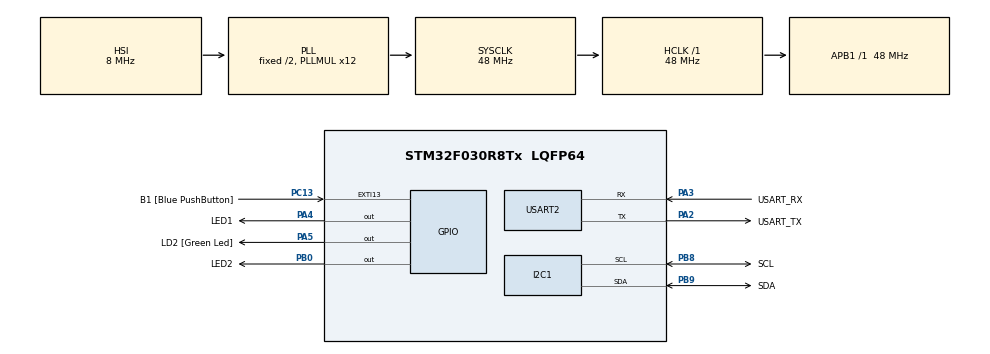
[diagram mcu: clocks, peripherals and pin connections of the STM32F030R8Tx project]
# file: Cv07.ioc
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FREERTOS.Queues01=xVisualQueue,16,uint16_t,0,Dynamic,NULL,NULL
FREERTOS.Tasks01=defaultTask,0,128,StartDefaultTask,Default,NULL,Dynamic,NULL,NULL;VisualTask,0,128,StartVisualTask,Default,NULL,Dynamic,NULL,NULL;AcceleroTask,0,128,StartAcceleroTask,Default,NULL,Dynamic,NULL,NULL
FREERTOS.configUSE_NEWLIB_REENTRANT=1
I2C1.Timing=0x00201D2B
Mcu.Family=STM32F0
Mcu.Name=STM32F030R8Tx
Mcu.Package=LQFP64
NVIC.TIM14_IRQn=true\:3\:0\:false\:false\:true\:false\:false\:true\:true
NVIC.TimeBase=TIM14_IRQn
NVIC.TimeBaseIP=TIM14
PA13.GPIO_Label=TMS
PA13.Mode=Serial_Wire
PA13.Signal=SYS_SWDIO
PA14.GPIO_Label=TCK
PA14.Mode=Serial_Wire
PA14.Signal=SYS_SWCLK
PA2.GPIO_Label=USART_TX
PA2.GPIO_Mode=GPIO_MODE_AF_PP
PA2.GPIO_PuPd=GPIO_NOPULL
PA2.GPIO_Speed=GPIO_SPEED_FREQ_LOW
PA2.Mode=Asynchronous
PA2.Signal=USART2_TX
PA3.GPIO_Label=USART_RX
PA3.GPIO_Mode=GPIO_MODE_AF_PP
PA3.GPIO_PuPd=GPIO_NOPULL
PA3.GPIO_Speed=GPIO_SPEED_FREQ_LOW
PA3.Mode=Asynchronous
PA3.Signal=USART2_RX
PA4.GPIO_Label=LED1
PA4.GPIO_PuPd=GPIO_NOPULL
PA4.Signal=GPIO_Output
PA5.GPIO_Label=LD2 [Green Led]
PA5.GPIO_Mode=GPIO_MODE_OUTPUT_PP
PA5.GPIO_PuPd=GPIO_NOPULL
PA5.GPIO_Speed=GPIO_SPEED_FREQ_LOW
PA5.Signal=GPIO_Output
PB0.GPIO_Label=LED2
PB0.Signal=GPIO_Output
PB8.GPIO_Label=SCL
PB8.Mode=I2C
PB8.Signal=I2C1_SCL
PB9.GPIO_Label=SDA
PB9.Mode=I2C
PB9.Signal=I2C1_SDA
PC13.GPIO_Label=B1 [Blue PushButton]
PC13.GPIO_ModeDefaultEXTI=GPIO_MODE_IT_FALLING
PC13.Signal=GPXTI13
PC14-OSC32_IN.Mode=LSE-External-Oscillator
PC14-OSC32_IN.Signal=RCC_OSC32_IN
PC15-OSC32_OUT.Mode=LSE-External-Oscillator
PC15-OSC32_OUT.Signal=RCC_OSC32_OUT
PF0-OSC_IN.Mode=HSE-External-Clock-Source
PF0-OSC_IN.Signal=RCC_OSC_IN
PF1-OSC_OUT.Signal=RCC_OSC_OUT
ProjectManager.HeapSize=0x200
ProjectManager.StackSize=0x400
ProjectManager.TargetToolchain=STM32CubeIDE
RCC.AHBFreq_Value=48000000
RCC.APB1Freq_Value=48000000
RCC.APB1TimFreq_Value=48000000
RCC.HCLKFreq_Value=48000000
RCC.PLLMUL=RCC_PLL_MUL12
RCC.SYSCLKFreq_VALUE=48000000
RCC.SYSCLKSource=RCC_SYSCLKSOURCE_PLLCLK
USART2.VirtualMode-Asynchronous=VM_ASYNC
VP_FREERTOS_VS_CMSIS_V1.Mode=CMSIS_V1
VP_SYS_VS_tim14.Mode=TIM14
board=NUCLEO-F030R8

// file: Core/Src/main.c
/* USER CODE BEGIN Header */
/**
  ******************************************************************************
  * @file           : main.c
  * @brief          : Main program body
  ******************************************************************************
  * @attention
  *
  * Copyright (c) 2025 STMicroelectronics.
  * All rights reserved.
  *
  * This software is licensed under terms that can be found in the LICENSE file
  * in the root directory of this software component.
  * If no LICENSE file comes with this software, it is provided AS-IS.
  *
  ******************************************************************************
  */
/* USER CODE END Header */
#include "main.h"
#include "cmsis_os.h"

/* USER CODE BEGIN Includes */
#include "lis2dw12_reg.h"
#include <stdio.h>

/* USER CODE END Includes */

I2C_HandleTypeDef hi2c1;

UART_HandleTypeDef huart2;

osThreadId defaultTaskHandle;
osThreadId VisualTaskHandle;
osThreadId AcceleroTaskHandle;
osMessageQId xVisualQueueHandle;

void SystemClock_Config(void);
static void MX_GPIO_Init(void);
static void MX_USART2_UART_Init(void);
static void MX_I2C1_Init(void);
void StartDefaultTask(void const * argument);
void StartVisualTask(void const * argument);
void StartAcceleroTask(void const * argument);

int _write(int file, char const *buf, int n);

/* USER CODE BEGIN PFP */

static int32_t platform_write(void *handle, uint8_t reg, const uint8_t *bufp, uint16_t len)
{
	(HAL_I2C_Mem_Write(handle, LIS2DW12_I2C_ADD_H, reg, I2C_MEMADD_SIZE_8BIT, bufp, len, 1000));
    return 0;
}

static int32_t platform_read(void *handle, uint8_t reg, uint8_t *bufp, uint16_t len)
{
	(HAL_I2C_Mem_Read(handle, LIS2DW12_I2C_ADD_H, reg, I2C_MEMADD_SIZE_8BIT, bufp, len, 1000));
    return 0;
}

static stmdev_ctx_t lis2dw12 = {
    .write_reg = platform_write,
    .read_reg  = platform_read,
    .handle    = &hi2c1,
};

int _write(int file, char const *buf, int n)
{
  (void)file;
  HAL_UART_Transmit(&huart2, (uint8_t*)buf, (uint16_t)n, HAL_MAX_DELAY);
  return n;
}

static void LIS2DW12_Init(void)
{
	uint8_t whoamI = 0;

	lis2dw12_device_id_get(&lis2dw12, &whoamI);
	printf("LIS2DW12_ID %s\r\n", (whoamI == LIS2DW12_ID) ? "OK" : "FAIL");

	lis2dw12_full_scale_set(&lis2dw12, LIS2DW12_2g);
	lis2dw12_power_mode_set(&lis2dw12, LIS2DW12_CONT_LOW_PWR_LOW_NOISE_2);
	lis2dw12_block_data_update_set(&lis2dw12, PROPERTY_ENABLE);
	lis2dw12_fifo_mode_set(&lis2dw12, LIS2DW12_STREAM_MODE);
	lis2dw12_data_rate_set(&lis2dw12, LIS2DW12_XL_ODR_25Hz);
}

/* USER CODE END PFP */

int main(void)
{

  /* MCU Configuration--------------------------------------------------------*/

  /* Reset of all peripherals, Initializes the Flash interface and the Systick. */
  HAL_Init();

  /* Configure the system clock */
  SystemClock_Config();

  /* Initialize all configured peripherals */
  MX_GPIO_Init();
  MX_USART2_UART_Init();
  MX_I2C1_Init();

  /* Create the queue(s) */
  /* definition and creation of xVisualQueue */
  osMessageQDef(xVisualQueue, 16, uint16_t);
  xVisualQueueHandle = osMessageCreate(osMessageQ(xVisualQueue), NULL);

  /* Create the thread(s) */
  /* definition and creation of defaultTask */
  osThreadDef(defaultTask, StartDefaultTask, osPriorityNormal, 0, 128);
  defaultTaskHandle = osThreadCreate(osThread(defaultTask), NULL);

  /* definition and creation of VisualTask */
  osThreadDef(VisualTask, StartVisualTask, osPriorityNormal, 0, 128);
  VisualTaskHandle = osThreadCreate(osThread(VisualTask), NULL);

  /* definition and creation of AcceleroTask */
  osThreadDef(AcceleroTask, StartAcceleroTask, osPriorityNormal, 0, 128);
  AcceleroTaskHandle = osThreadCreate(osThread(AcceleroTask), NULL);

  /* Start scheduler */
  osKernelStart();

  /* We should never get here as control is now taken by the scheduler */

  /* Infinite loop */
  while (1)
  {

  }
}

void SystemClock_Config(void)
{
  RCC_OscInitTypeDef RCC_OscInitStruct = {0};
  RCC_ClkInitTypeDef RCC_ClkInitStruct = {0};
  RCC_PeriphCLKInitTypeDef PeriphClkInit = {0};

  /** Initializes the RCC Oscillators according to the specified parameters
  * in the RCC_OscInitTypeDef structure.
  */
  RCC_OscInitStruct.OscillatorType = RCC_OSCILLATORTYPE_HSI;
  RCC_OscInitStruct.HSIState = RCC_HSI_ON;
  RCC_OscInitStruct.HSICalibrationValue = RCC_HSICALIBRATION_DEFAULT;
  RCC_OscInitStruct.PLL.PLLState = RCC_PLL_ON;
  RCC_OscInitStruct.PLL.PLLSource = RCC_PLLSOURCE_HSI;
  RCC_OscInitStruct.PLL.PLLMUL = RCC_PLL_MUL12;
  RCC_OscInitStruct.PLL.PREDIV = RCC_PREDIV_DIV1;
  if (HAL_RCC_OscConfig(&RCC_OscInitStruct) != HAL_OK)
  {
    Error_Handler();
  }

  /** Initializes the CPU, AHB and APB buses clocks
  */
  RCC_ClkInitStruct.ClockType = RCC_CLOCKTYPE_HCLK|RCC_CLOCKTYPE_SYSCLK
                              |RCC_CLOCKTYPE_PCLK1;
  RCC_ClkInitStruct.SYSCLKSource = RCC_SYSCLKSOURCE_PLLCLK;
  RCC_ClkInitStruct.AHBCLKDivider = RCC_SYSCLK_DIV1;
  RCC_ClkInitStruct.APB1CLKDivider = RCC_HCLK_DIV1;

  if (HAL_RCC_ClockConfig(&RCC_ClkInitStruct, FLASH_LATENCY_1) != HAL_OK)
  {
    Error_Handler();
  }
  PeriphClkInit.PeriphClockSelection = RCC_PERIPHCLK_I2C1;
  PeriphClkInit.I2c1ClockSelection = RCC_I2C1CLKSOURCE_HSI;
  if (HAL_RCCEx_PeriphCLKConfig(&PeriphClkInit) != HAL_OK)
  {
    Error_Handler();
  }
}

static void MX_I2C1_Init(void)
{

  hi2c1.Instance = I2C1;
  hi2c1.Init.Timing = 0x00201D2B;
  hi2c1.Init.OwnAddress1 = 0;
  hi2c1.Init.AddressingMode = I2C_ADDRESSINGMODE_7BIT;
  hi2c1.Init.DualAddressMode = I2C_DUALADDRESS_DISABLE;
  hi2c1.Init.OwnAddress2 = 0;
  hi2c1.Init.OwnAddress2Masks = I2C_OA2_NOMASK;
  hi2c1.Init.GeneralCallMode = I2C_GENERALCALL_DISABLE;
  hi2c1.Init.NoStretchMode = I2C_NOSTRETCH_DISABLE;
  if (HAL_I2C_Init(&hi2c1) != HAL_OK)
  {
    Error_Handler();
  }

  /** Configure Analogue filter
  */
  if (HAL_I2CEx_ConfigAnalogFilter(&hi2c1, I2C_ANALOGFILTER_ENABLE) != HAL_OK)
  {
    Error_Handler();
  }

  /** Configure Digital filter
  */
  if (HAL_I2CEx_ConfigDigitalFilter(&hi2c1, 0) != HAL_OK)
  {
    Error_Handler();
  }

}

static void MX_USART2_UART_Init(void)
{

  huart2.Instance = USART2;
  huart2.Init.BaudRate = 38400;
  huart2.Init.WordLength = UART_WORDLENGTH_8B;
  huart2.Init.StopBits = UART_STOPBITS_1;
  huart2.Init.Parity = UART_PARITY_NONE;
  huart2.Init.Mode = UART_MODE_TX_RX;
  huart2.Init.HwFlowCtl = UART_HWCONTROL_NONE;
  huart2.Init.OverSampling = UART_OVERSAMPLING_16;
  huart2.Init.OneBitSampling = UART_ONE_BIT_SAMPLE_DISABLE;
  huart2.AdvancedInit.AdvFeatureInit = UART_ADVFEATURE_NO_INIT;
  if (HAL_UART_Init(&huart2) != HAL_OK)
  {
    Error_Handler();
  }

}

static void MX_GPIO_Init(void)
{
  GPIO_InitTypeDef GPIO_InitStruct = {0};

  /* GPIO Ports Clock Enable */
  __HAL_RCC_GPIOC_CLK_ENABLE();
  __HAL_RCC_GPIOF_CLK_ENABLE();
  __HAL_RCC_GPIOA_CLK_ENABLE();
  __HAL_RCC_GPIOB_CLK_ENABLE();

  /*Configure GPIO pin Output Level */
  HAL_GPIO_WritePin(GPIOA, LED1_Pin|LD2_Pin, GPIO_PIN_RESET);

  /*Configure GPIO pin Output Level */
  HAL_GPIO_WritePin(LED2_GPIO_Port, LED2_Pin, GPIO_PIN_RESET);

  /*Configure GPIO pin : B1_Pin */
  GPIO_InitStruct.Pin = B1_Pin;
  GPIO_InitStruct.Mode = GPIO_MODE_IT_FALLING;
  GPIO_InitStruct.Pull = GPIO_NOPULL;
  HAL_GPIO_Init(B1_GPIO_Port, &GPIO_InitStruct);

  /*Configure GPIO pins : LED1_Pin LD2_Pin */
  GPIO_InitStruct.Pin = LED1_Pin|LD2_Pin;
  GPIO_InitStruct.Mode = GPIO_MODE_OUTPUT_PP;
  GPIO_InitStruct.Pull = GPIO_NOPULL;
  GPIO_InitStruct.Speed = GPIO_SPEED_FREQ_LOW;
  HAL_GPIO_Init(GPIOA, &GPIO_InitStruct);

  /*Configure GPIO pin : LED2_Pin */
  GPIO_InitStruct.Pin = LED2_Pin;
  GPIO_InitStruct.Mode = GPIO_MODE_OUTPUT_PP;
  GPIO_InitStruct.Pull = GPIO_NOPULL;
  GPIO_InitStruct.Speed = GPIO_SPEED_FREQ_LOW;
  HAL_GPIO_Init(LED2_GPIO_Port, &GPIO_InitStruct);

}

void StartDefaultTask(void const * argument)
{
  for(;;)
  {
    osDelay(1);
  }
}

void StartVisualTask(void const * argument)
{
  /* USER CODE BEGIN StartVisualTask */
	/* Infinite loop */

	int16_t msg;
	for (;;)
	{
		if (xQueueReceive(xVisualQueueHandle, &msg, portMAX_DELAY) == pdTRUE)
		{
			if (msg < -1000) {
				HAL_GPIO_WritePin(LED1_GPIO_Port, LED1_Pin, GPIO_PIN_SET);
				HAL_GPIO_WritePin(LED2_GPIO_Port, LED2_Pin, GPIO_PIN_RESET);
			}

			else if (msg > 1000) {
				HAL_GPIO_WritePin(LED1_GPIO_Port, LED1_Pin, GPIO_PIN_RESET);
				HAL_GPIO_WritePin(LED2_GPIO_Port, LED2_Pin, GPIO_PIN_SET);
			}

			else {
				HAL_GPIO_WritePin(LED1_GPIO_Port, LED1_Pin, GPIO_PIN_RESET);
				HAL_GPIO_WritePin(LED2_GPIO_Port, LED2_Pin, GPIO_PIN_RESET);
			}
		}
	}

  /* USER CODE END StartVisualTask */
}

void StartAcceleroTask(void const * argument)
{
	/* USER CODE BEGIN StartAcceleroTask */
	/* Infinite loop */

	LIS2DW12_Init();

	(void)argument;
	uint8_t samples;
	int16_t raw_acc[3];

	for (;;)
	{
		lis2dw12_fifo_data_level_get(&lis2dw12, &samples);

		for (uint8_t i = 0; i < samples; i++) {
			lis2dw12_acceleration_raw_get(&lis2dw12, raw_acc);

		}

		printf("X=%d Y=%d Z=%d\r\n", raw_acc[0], raw_acc[1], raw_acc[2]);

		if (samples > 0) {
			int16_t x = raw_acc[0];
			xQueueSend(xVisualQueueHandle, &x, 0);
		}

		vTaskDelay(50);
	}

	/* USER CODE END StartAcceleroTask */
}

void HAL_TIM_PeriodElapsedCallback(TIM_HandleTypeDef *htim)
{
  if (htim->Instance == TIM14)
  {
    HAL_IncTick();
  }
}

void Error_Handler(void)
{
  __disable_irq();
  while (1)
  {
  }
}
